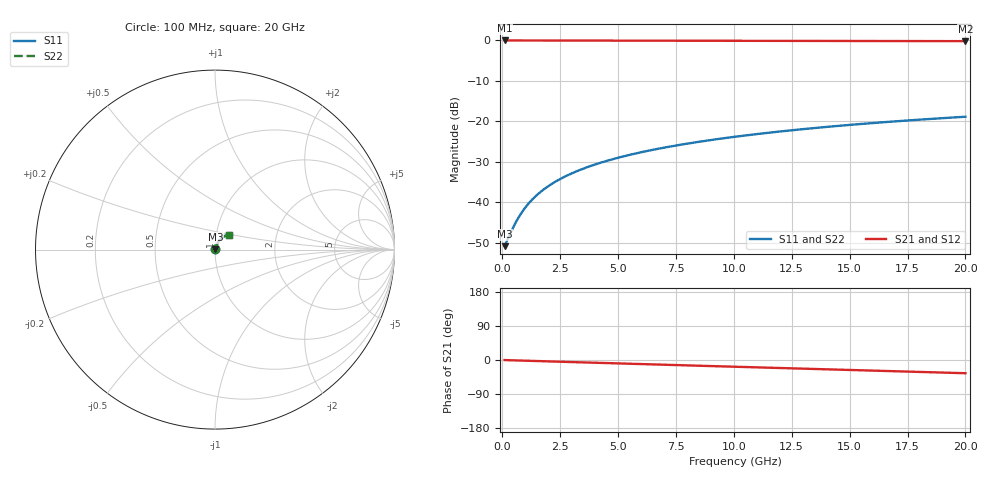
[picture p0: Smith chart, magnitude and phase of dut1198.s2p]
! Touchstone file exported from HFSS 2026.1.0
!  File:  C:/ffzhzh/LocalFiles/Ansys_Project_Files/temp_train_TMRDL_1198_1783162922_51560.aedt
!  Generated:  07:03:08 PM Jul  4, 2026
!  Design:  TMRDL
!  Project:  temp_train_TMRDL_1198_1783162922_51560
! Variables:
!  h_bsmrdl = 2um
!  h_ox = 20um
!  h_rdl = 5um
!  h_sub = 80um
!  h_tmrdl = 5.37um
!  h_tsv = 80um
!  h_via = 3um
!  l_bsmrdl = 300um
!  l_sub = 1018.69um
!  l_tmrdl = 618.69um
!  m_sub = 200um
!  pitch = 24.04um
!  r_tsv = 6um
!  s_tmrdl = 10um
!  w_bsmrdl = 18um
!  w_sub = 500um
!  w_tmrdl = 16.37um
!  x_tsv_center1 = 626.875um
!  x_tsv_center2 = 944.875um
!  x_tsv_center3 = 1579.935um
!  x_tsv_center4 = 1897.935um
!  x_tsv_center5 = 2532.995um
!  x_tsv_center6 = 2850.995um
# GHz S MA R 50.000000
! Terminal data exported
! Port[1] = TM_RDL1_1_T1
! Port[2] = TM_RDL1_1_T2
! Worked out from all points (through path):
!   200 points, 100 MHz to 20 GHz, reference 50 ohm
!   highest |S21| = -0.02 dB at 100 MHz (marker M1); lowest = -0.2 dB at 20 GHz (marker M2)
!   group delay of S21, straight-line fit = 4.82 ps
!   lowest |S11| = -50.8 dB at 100 MHz (marker M3), VSWR 1.01, Z = 50.3 + j0.109 ohm
!   |S11| at or under -10 dB: start of sweep to end of sweep
!   |S22| runs from -50.8 to -18.9 dB; largest |S21 - S12| = 2.9e-15
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0.1  0.002883 22.1  0.9973 -0.2  0.9973 -0.2  0.002883 22.1
! Gamma 0 0 0 0
! Port Impedance 50 0 50 0
0.2  0.003366 32.4  0.9971 -0.4  0.9971 -0.4  0.003399 32.5
0.4  0.004465 47.9  0.9967 -0.8  0.9967 -0.8  0.004496 47.5
0.6  0.005793 56.9  0.9965 -1.1  0.9965 -1.1  0.005805 56.5
0.7  0.006501 59.9  0.9964 -1.3  0.9964 -1.3  0.006504 59.5
1  0.008698 65.4  0.9962 -1.9  0.9962 -1.9  0.008681 65.1
1.2  0.01018 67.3  0.996 -2.2  0.996 -2.2  0.01015 67.2
1.4  0.01165 68.6  0.9959 -2.6  0.9959 -2.6  0.01162 68.5
1.8  0.01455 69.9  0.9955 -3.3  0.9955 -3.3  0.01452 69.9
2.3  0.01807 70.5  0.995 -4.2  0.995 -4.2  0.01805 70.5
2.9  0.02215 70.5  0.9944 -5.3  0.9944 -5.3  0.02214 70.5
3.5  0.02611 70.2  0.9936 -6.4  0.9936 -6.4  0.02611 70.2
4.2  0.0306 69.6  0.9928 -7.6  0.9928 -7.6  0.0306 69.6
5  0.03558 68.7  0.9918 -9.0  0.9918 -9.0  0.03558 68.7
5.9  0.04103 67.6  0.9908 -10.6  0.9908 -10.6  0.04103 67.6
6.8  0.04634 66.5  0.9898 -12.2  0.9898 -12.2  0.04634 66.5
8.3  0.05493 64.5  0.9882 -14.8  0.9882 -14.8  0.05493 64.5
10.1  0.0649 62.0  0.9865 -17.9  0.9865 -17.9  0.06491 62.0
11.7  0.0735 59.8  0.985 -20.7  0.985 -20.7  0.07351 59.8
13.4  0.08238 57.4  0.9835 -23.6  0.9835 -23.6  0.08239 57.4
16.7  0.09882 52.5  0.9805 -29.2  0.9805 -29.2  0.09884 52.5
20  0.1141 47.4  0.9776 -34.9  0.9776 -34.9  0.1141 47.4
